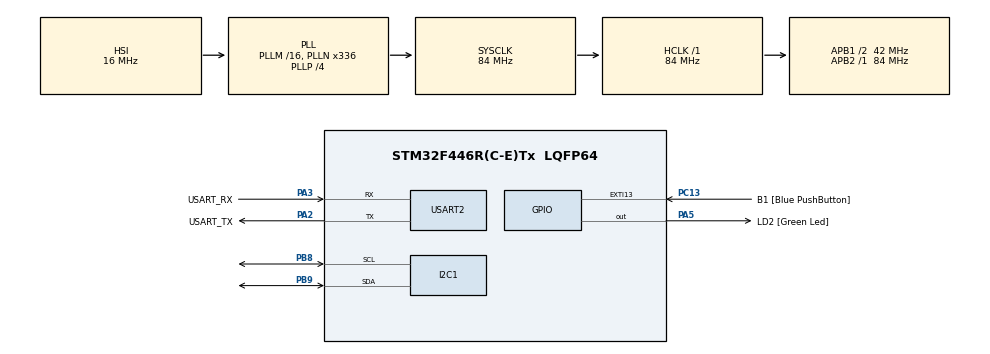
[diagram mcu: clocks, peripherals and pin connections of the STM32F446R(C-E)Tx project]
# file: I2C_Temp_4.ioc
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Mcu.Family=STM32F4
Mcu.Name=STM32F446R(C-E)Tx
Mcu.Package=LQFP64
NVIC.I2C1_ER_IRQn=true\:0\:0\:false\:false\:true\:true\:true
NVIC.I2C1_EV_IRQn=true\:0\:0\:false\:false\:true\:true\:true
NVIC.PriorityGroup=NVIC_PRIORITYGROUP_0
NVIC.TIM2_IRQn=true\:0\:0\:false\:false\:true\:true\:true
NVIC.USART2_IRQn=true\:0\:0\:false\:false\:true\:true\:true
PA13.GPIO_Label=TMS
PA13.Mode=Serial_Wire
PA13.Signal=SYS_JTMS-SWDIO
PA14.GPIO_Label=TCK
PA14.Mode=Serial_Wire
PA14.Signal=SYS_JTCK-SWCLK
PA2.GPIO_Label=USART_TX
PA2.Mode=Asynchronous
PA2.Signal=USART2_TX
PA3.GPIO_Label=USART_RX
PA3.Mode=Asynchronous
PA3.Signal=USART2_RX
PA5.GPIO_Label=LD2 [Green Led]
PA5.Signal=GPIO_Output
PB3.GPIO_Label=SWO
PB3.Signal=SYS_JTDO-SWO
PB8.Mode=I2C
PB8.Signal=I2C1_SCL
PB9.Mode=I2C
PB9.Signal=I2C1_SDA
PC13.GPIO_Label=B1 [Blue PushButton]
PC13.GPIO_ModeDefaultEXTI=GPIO_MODE_IT_FALLING
PC13.Signal=GPXTI13
PC14-OSC32_IN.Mode=LSE-External-Oscillator
PC14-OSC32_IN.Signal=RCC_OSC32_IN
PC15-OSC32_OUT.Mode=LSE-External-Oscillator
PC15-OSC32_OUT.Signal=RCC_OSC32_OUT
PH0-OSC_IN.Mode=HSE-External-Oscillator
PH0-OSC_IN.Signal=RCC_OSC_IN
PH1-OSC_OUT.Mode=HSE-External-Oscillator
PH1-OSC_OUT.Signal=RCC_OSC_OUT
ProjectManager.HeapSize=0x200
ProjectManager.StackSize=0x400
ProjectManager.TargetToolchain=STM32CubeIDE
RCC.48MHZClocksFreq_Value=84000000
RCC.AHBFreq_Value=84000000
RCC.APB1CLKDivider=RCC_HCLK_DIV2
RCC.APB1Freq_Value=42000000
RCC.APB1TimFreq_Value=84000000
RCC.APB2Freq_Value=84000000
RCC.APB2TimFreq_Value=84000000
RCC.CortexFreq_Value=84000000
RCC.FLatency-AdvancedSettings=FLASH_LATENCY_2
RCC.HCLKFreq_Value=84000000
RCC.HSE_VALUE=8000000
RCC.HSI_VALUE=16000000
RCC.PLLN=336
RCC.PLLP=RCC_PLLP_DIV4
RCC.SYSCLKFreq_VALUE=84000000
RCC.SYSCLKSource=RCC_SYSCLKSOURCE_PLLCLK
RCC.USBFreq_Value=168000000
RCC.VCOOutputFreq_Value=336000000
TIM2.Period=249999
TIM2.Prescaler=83
USART2.VirtualMode=VM_ASYNC
VP_TIM2_VS_ClockSourceINT.Mode=Internal
board=NUCLEO-F446RE

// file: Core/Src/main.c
/* USER CODE BEGIN Header */
/**
  ******************************************************************************
  * @file           : main.c
  * @brief          : Main program body
  ******************************************************************************
  * @attention
  *
  * <h2><center>&copy; Copyright (c) 2021 STMicroelectronics.
  * All rights reserved.</center></h2>
  *
  * This software component is licensed by ST under BSD 3-Clause license,
  * the "License"; You may not use this file except in compliance with the
  * License. You may obtain a copy of the License at:
  *                        opensource.org/licenses/BSD-3-Clause
  *
  ******************************************************************************
  */
/* USER CODE END Header */
#include "main.h"

I2C_HandleTypeDef hi2c1;

TIM_HandleTypeDef htim2;

UART_HandleTypeDef huart2;

/* USER CODE BEGIN PV */
uint8_t sw[1] = "0";
uint8_t buf[6];
//uint8_t Err = 0;
//uint8_t check[6];
float hum;
float temp;
HAL_StatusTypeDef ret;
/* USER CODE END PV */

void SystemClock_Config(void);
static void MX_GPIO_Init(void);
static void MX_USART2_UART_Init(void);
static void MX_I2C1_Init(void);
static void MX_TIM2_Init(void);
/* USER CODE BEGIN PFP */
uint8_t con_test ();
/* USER CODE END PFP */

/* USER CODE BEGIN 0 */

//Connection Test Function
void HAL_UART_RxCpltCallback(UART_HandleTypeDef *huart)
{
	  HAL_UART_Receive_IT(&huart2, sw, 1);
	  if(sw[0]=='1')
	  		  {
	  	  	  		  //Temperature and Humidity Receive
	  	  	  		  buf[0] = (uint8_t)(READ_TEMP_REG >> 8);
	  	  	  		  buf[1] = (uint8_t)READ_TEMP_REG;
	  	  	  		  ret = HAL_I2C_Master_Transmit(&hi2c1, SHT_ADDR, buf, 2, 100);
	  	  	  		  if (ret != HAL_OK)
	  	  	  		  {
			  			  printf("Sensor connection ERROR\r\n\n");
	  	  	  		  }
	  	  	  		  else
	  	  	  		  {
	  	  	  			  HAL_I2C_Master_Receive(&hi2c1, SHT_ADDR, buf, 6, 100);

	  	  	  			  hum = humidity(buf);

	  	  	  			  printf("Humidity is %.2f %%\r\n", hum);
	  	  	  			  printf("Enter 1 to get humidity data\r\n");
	  	  	  			  printf("Enter 2 to get temperature data\r\n");
	  	  	  			  printf("Enter 3 to Enable Heater\r\n");
	  	  	  			  printf("Enter 4 to Disable Heater\r\n\n");
	  	  	  		  }
	  		  }

	  if(sw[0]=='2')
	  		  {
	  	  	  		  //Temperature and Humidity Receive
	  	  	  		  buf[0] = (uint8_t)(READ_TEMP_REG >> 8);
	  	  	  		  buf[1] = (uint8_t)READ_TEMP_REG;
	  	  	  		  ret = HAL_I2C_Master_Transmit(&hi2c1, SHT_ADDR, buf, 2, 100);
	  	  	  		  if (ret != HAL_OK)
	  	  	  		  {
			  			  printf("Sensor connection ERROR\r\n\n");
	  	  	  		  }
	  	  	  		  else
	  	  	  		  {
	  	  	  			  HAL_I2C_Master_Receive(&hi2c1, SHT_ADDR, buf, 6, 100);

	  	  	  			  temp = temperature(buf);

	  	  	  			  printf("Temperature is %.2f C\r\n", temp);
	  	  	  			  printf("Enter 1 to get humidity data\r\n");
	  	  	  			  printf("Enter 2 to get temperature data\r\n");
	  	  	  			  printf("Enter 3 to Enable Heater\r\n");
	  	  	  			  printf("Enter 4 to Disable Heater\r\n\n");
	  	  	  		  }
	  		  }
	  if(sw[0]=='3')
	  		  {
	  	  	  		  //Heater Enable
	  	  	  		  buf[0] = (uint8_t)(HEATER_EN_REG >> 8);
	  	  	  		  buf[1] = (uint8_t)HEATER_EN_REG;
	  	  	  		  ret = HAL_I2C_Master_Transmit(&hi2c1, SHT_ADDR, buf, 2, 100);
	  	  	  		  if (ret != HAL_OK)
	  	  	  		  {
			  			  printf("Sensor connection ERROR\r\n\n");
	  	  	  		  }
	  	  	  		  else
	  	  	  		  {
	  	  	  			  printf("The Heater is Enabled\r\n");
	  	  	  			  printf("Enter 1 to get humidity data\r\n");
	  	  	  			  printf("Enter 2 to get temperature data\r\n");
	  	  	  			  printf("Enter 4 to Disable Heater\r\n\n");
	  	  	  		  }
	  		  }
	  if(sw[0]=='4')
	  		  {
	  	  	  		  //Heater Enable
	  	  	  		  buf[0] = (uint8_t)(HEATER_DIS_REG >> 8);
	  	  	  		  buf[1] = (uint8_t)HEATER_DIS_REG;
	  	  	  		  ret = HAL_I2C_Master_Transmit(&hi2c1, SHT_ADDR, buf, 2, 100);
	  	  	  		  if (ret != HAL_OK)
	  	  	  		  {
			  			  printf("Sensor connection ERROR\r\n\n");
	  	  	  		  }
	  	  	  		  else
	  	  	  		  {
	  	  	  			  printf("The Heater is Disabled\r\n");
	  	  	  			  printf("Enter 1 to get humidity data\r\n");
	  	  	  			  printf("Enter 2 to get temperature data\r\n");
	  	  	  			  printf("Enter 3 to Enable Heater\r\n\n");
	  	  	  		  }
	  		  }
		  else
		  {
		    __NOP();
		  }
}

//Function for printf
int _write(int file, char *ptr, int len)
{
	HAL_UART_Transmit(&huart2, (uint8_t*)ptr, len, 100);
	return len;
}

/* USER CODE END 0 */

int main(void)
{

  /* MCU Configuration--------------------------------------------------------*/

  /* Reset of all peripherals, Initializes the Flash interface and the Systick. */
  HAL_Init();

  /* Configure the system clock */
  SystemClock_Config();

  /* Initialize all configured peripherals */
  MX_GPIO_Init();
  MX_USART2_UART_Init();
  MX_I2C1_Init();
  MX_TIM2_Init();
  /* USER CODE BEGIN 2 */
 //TIM2 Start
  HAL_TIM_Base_Start_IT(&htim2);

  //Get Status;
  buf[0] = (uint8_t)(SHT_STAT_REG >> 8);
  buf[1] = (uint8_t)SHT_STAT_REG;
  ret = HAL_I2C_Master_Transmit(&hi2c1, SHT_ADDR, buf, 2, 100);
  if (ret != HAL_OK)
  {
	  printf("Sensor connection ERROR\r\n\n");
  }
  else
  {
	  HAL_I2C_Master_Receive(&hi2c1, SHT_ADDR, buf, 3, 100);
	  //Err = con_test();

  //Start Measurement command
	  buf[0] = (uint8_t)(MES_CMD_REG >> 8);
	  buf[1] = (uint8_t)MES_CMD_REG;
	  HAL_I2C_Master_Transmit(&hi2c1, SHT_ADDR, buf, 2, 100);

	  printf("Enter 1 to get humidity data\r\n");
	  printf("Enter 2 to get temperature data\r\n");
	  printf("Enter 3 to Enable Heater\r\n");
	  printf("Enter 4 to Disable Heater\r\n\n");

	  //Uart Receive command
	  HAL_UART_Receive_IT(&huart2, sw, 1);
  }
  /* USER CODE END 2 */

  /* Infinite loop */
  while (1)
  {

    /* USER CODE BEGIN 3 */
	  //HAL_Delay(250);
	  //HAL_GPIO_TogglePin(LD2_GPIO_Port, LD2_Pin);

	  //Temperature and Humidity Receive
	  /*
	  buf[0] = (uint8_t)(READ_TEMP_REG >> 8);
	  buf[1] = (uint8_t)READ_TEMP_REG;
	  HAL_I2C_Master_Transmit(&hi2c1, SHT_ADDR, buf, 2, 100);
	  HAL_I2C_Master_Receive(&hi2c1, SHT_ADDR, buf, 6, 100);

	  temp = temperature(buf);
	  hum = humidity(buf);
	*/
	  //printf("Humidity is %.2f %\r\n", hum);
	  //printf("Temperature is %.2f C\r\n", temp);
  }
  /* USER CODE END 3 */
}

void SystemClock_Config(void)
{
  RCC_OscInitTypeDef RCC_OscInitStruct = {0};
  RCC_ClkInitTypeDef RCC_ClkInitStruct = {0};

  /** Configure the main internal regulator output voltage
  */
  __HAL_RCC_PWR_CLK_ENABLE();
  __HAL_PWR_VOLTAGESCALING_CONFIG(PWR_REGULATOR_VOLTAGE_SCALE3);
  /** Initializes the RCC Oscillators according to the specified parameters
  * in the RCC_OscInitTypeDef structure.
  */
  RCC_OscInitStruct.OscillatorType = RCC_OSCILLATORTYPE_HSI;
  RCC_OscInitStruct.HSIState = RCC_HSI_ON;
  RCC_OscInitStruct.HSICalibrationValue = RCC_HSICALIBRATION_DEFAULT;
  RCC_OscInitStruct.PLL.PLLState = RCC_PLL_ON;
  RCC_OscInitStruct.PLL.PLLSource = RCC_PLLSOURCE_HSI;
  RCC_OscInitStruct.PLL.PLLM = 16;
  RCC_OscInitStruct.PLL.PLLN = 336;
  RCC_OscInitStruct.PLL.PLLP = RCC_PLLP_DIV4;
  RCC_OscInitStruct.PLL.PLLQ = 2;
  RCC_OscInitStruct.PLL.PLLR = 2;
  if (HAL_RCC_OscConfig(&RCC_OscInitStruct) != HAL_OK)
  {
    Error_Handler();
  }
  /** Initializes the CPU, AHB and APB buses clocks
  */
  RCC_ClkInitStruct.ClockType = RCC_CLOCKTYPE_HCLK|RCC_CLOCKTYPE_SYSCLK
                              |RCC_CLOCKTYPE_PCLK1|RCC_CLOCKTYPE_PCLK2;
  RCC_ClkInitStruct.SYSCLKSource = RCC_SYSCLKSOURCE_PLLCLK;
  RCC_ClkInitStruct.AHBCLKDivider = RCC_SYSCLK_DIV1;
  RCC_ClkInitStruct.APB1CLKDivider = RCC_HCLK_DIV2;
  RCC_ClkInitStruct.APB2CLKDivider = RCC_HCLK_DIV1;

  if (HAL_RCC_ClockConfig(&RCC_ClkInitStruct, FLASH_LATENCY_2) != HAL_OK)
  {
    Error_Handler();
  }
}

static void MX_I2C1_Init(void)
{

  hi2c1.Instance = I2C1;
  hi2c1.Init.ClockSpeed = 100000;
  hi2c1.Init.DutyCycle = I2C_DUTYCYCLE_2;
  hi2c1.Init.OwnAddress1 = 0;
  hi2c1.Init.AddressingMode = I2C_ADDRESSINGMODE_7BIT;
  hi2c1.Init.DualAddressMode = I2C_DUALADDRESS_DISABLE;
  hi2c1.Init.OwnAddress2 = 0;
  hi2c1.Init.GeneralCallMode = I2C_GENERALCALL_DISABLE;
  hi2c1.Init.NoStretchMode = I2C_NOSTRETCH_DISABLE;
  if (HAL_I2C_Init(&hi2c1) != HAL_OK)
  {
    Error_Handler();
  }

}

static void MX_TIM2_Init(void)
{

  TIM_ClockConfigTypeDef sClockSourceConfig = {0};
  TIM_MasterConfigTypeDef sMasterConfig = {0};

  htim2.Instance = TIM2;
  htim2.Init.Prescaler = 83;
  htim2.Init.CounterMode = TIM_COUNTERMODE_UP;
  htim2.Init.Period = 249999;
  htim2.Init.ClockDivision = TIM_CLOCKDIVISION_DIV1;
  htim2.Init.AutoReloadPreload = TIM_AUTORELOAD_PRELOAD_DISABLE;
  if (HAL_TIM_Base_Init(&htim2) != HAL_OK)
  {
    Error_Handler();
  }
  sClockSourceConfig.ClockSource = TIM_CLOCKSOURCE_INTERNAL;
  if (HAL_TIM_ConfigClockSource(&htim2, &sClockSourceConfig) != HAL_OK)
  {
    Error_Handler();
  }
  sMasterConfig.MasterOutputTrigger = TIM_TRGO_RESET;
  sMasterConfig.MasterSlaveMode = TIM_MASTERSLAVEMODE_DISABLE;
  if (HAL_TIMEx_MasterConfigSynchronization(&htim2, &sMasterConfig) != HAL_OK)
  {
    Error_Handler();
  }

}

static void MX_USART2_UART_Init(void)
{

  huart2.Instance = USART2;
  huart2.Init.BaudRate = 115200;
  huart2.Init.WordLength = UART_WORDLENGTH_8B;
  huart2.Init.StopBits = UART_STOPBITS_1;
  huart2.Init.Parity = UART_PARITY_NONE;
  huart2.Init.Mode = UART_MODE_TX_RX;
  huart2.Init.HwFlowCtl = UART_HWCONTROL_NONE;
  huart2.Init.OverSampling = UART_OVERSAMPLING_16;
  if (HAL_UART_Init(&huart2) != HAL_OK)
  {
    Error_Handler();
  }

}

static void MX_GPIO_Init(void)
{
  GPIO_InitTypeDef GPIO_InitStruct = {0};

  /* GPIO Ports Clock Enable */
  __HAL_RCC_GPIOC_CLK_ENABLE();
  __HAL_RCC_GPIOH_CLK_ENABLE();
  __HAL_RCC_GPIOA_CLK_ENABLE();
  __HAL_RCC_GPIOB_CLK_ENABLE();

  /*Configure GPIO pin Output Level */
  HAL_GPIO_WritePin(LD2_GPIO_Port, LD2_Pin, GPIO_PIN_RESET);

  /*Configure GPIO pin : B1_Pin */
  GPIO_InitStruct.Pin = B1_Pin;
  GPIO_InitStruct.Mode = GPIO_MODE_IT_FALLING;
  GPIO_InitStruct.Pull = GPIO_NOPULL;
  HAL_GPIO_Init(B1_GPIO_Port, &GPIO_InitStruct);

  /*Configure GPIO pin : LD2_Pin */
  GPIO_InitStruct.Pin = LD2_Pin;
  GPIO_InitStruct.Mode = GPIO_MODE_OUTPUT_PP;
  GPIO_InitStruct.Pull = GPIO_NOPULL;
  GPIO_InitStruct.Speed = GPIO_SPEED_FREQ_LOW;
  HAL_GPIO_Init(LD2_GPIO_Port, &GPIO_InitStruct);

}

/* USER CODE BEGIN 4 */
void HAL_TIM_PeriodElapsedCallback(TIM_HandleTypeDef *htim)
{
	if (htim->Instance == TIM2) //If the source is TIM2
	{
		  HAL_GPIO_TogglePin(LD2_GPIO_Port, LD2_Pin);
	}
}
/* USER CODE END 4 */

void Error_Handler(void)
{
  __disable_irq();
  while (1)
  {
  }
}

/************************ (C) COPYRIGHT STMicroelectronics *****END OF FILE****/
